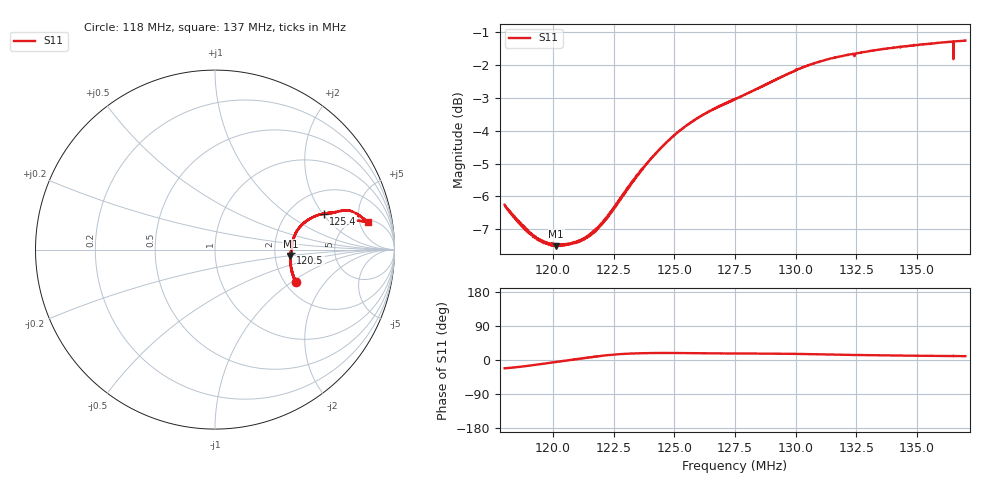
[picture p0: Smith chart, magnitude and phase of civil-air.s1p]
! Calibrated averaged scanner-service zoom
# Hz S RI R 50
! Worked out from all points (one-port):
!   2001 points, 118 MHz to 137 MHz, reference 50 ohm
!   lowest |S11| = -7.5 dB at 120.1 MHz (marker M1), VSWR 2.46, Z = 122 - j10.7 ohm
!   |S11| at or under -10 dB: nowhere
!   S11 on the Smith chart (normalised r, x): 118 MHz: 2.29, -1.09; 120.5 MHz: 2.46, -0.10; 125.4 MHz: 3.04, +2.04; 137 MHz: 5.55, +6.70
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1.18e8  0.4521 -0.1811
1.1857e8  0.4336 -0.145
1.191685e8  0.4227 -0.1035
1.196245e8  0.4196 -0.0713
1.20128e8  0.4197 -0.0361
1.20375e8  0.4223 -0.0227
1.204605e8  0.4227 -0.0164
1.21116e8  0.4276 0.025
1.216195e8  0.4361 0.0571
1.221895e8  0.4526 0.0971
1.2275e8  0.479 0.1316
1.232725e8  0.5039 0.156
1.23871e8  0.5349 0.1755
1.244695e8  0.5639 0.189
1.25125e8  0.5946 0.1981
1.253815e8  0.6058 0.1995
1.263505e8  0.6411 0.2034
1.275e8  0.6736 0.2094
1.289915e8  0.7165 0.2174
1.29875e8  0.7441 0.217
1.31167e8  0.7801 0.2051
1.3225e8  0.8011 0.1923
1.335135e8  0.8192 0.1798
1.34625e8  0.8314 0.1692
1.36354e8  0.8465 0.1565
1.365535e8  0.848 0.1557
1.366105e8  0.8484 0.1553
1.37e8  0.8508 0.1527
